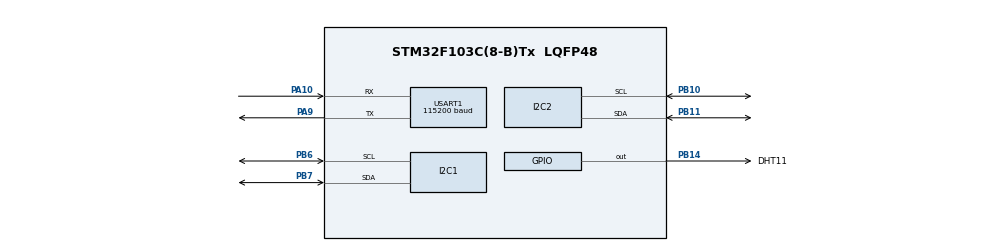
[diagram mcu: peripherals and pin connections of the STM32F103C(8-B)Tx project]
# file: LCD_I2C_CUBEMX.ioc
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FREERTOS.Mutexes01=myMutex01,Dynamic,NULL
FREERTOS.Queues01=myQueue01,16,myQueueData_t,0,Dynamic,NULL,NULL
FREERTOS.Tasks01=nhietDoTask,24,128,nhietDoFunction,Default,NULL,Dynamic,NULL,NULL;thoiGianTask,16,128,thoiGianFunction,Default,NULL,Dynamic,NULL,NULL;hienThiTask,32,128,hienThiFunction,Default,NULL,Dynamic,NULL,NULL
I2C1.I2C_Mode=I2C_Standard
Mcu.Family=STM32F1
Mcu.Name=STM32F103C(8-B)Tx
Mcu.Package=LQFP48
NVIC.PriorityGroup=NVIC_PRIORITYGROUP_4
NVIC.TIM2_IRQn=true\:15\:0\:false\:false\:true\:false\:false\:true
NVIC.TimeBase=TIM2_IRQn
NVIC.TimeBaseIP=TIM2
PA10.Mode=Asynchronous
PA10.Signal=USART1_RX
PA13.Mode=Serial_Wire
PA13.Signal=SYS_JTMS-SWDIO
PA14.Mode=Serial_Wire
PA14.Signal=SYS_JTCK-SWCLK
PA9.Mode=Asynchronous
PA9.Signal=USART1_TX
PB10.Mode=I2C
PB10.Signal=I2C2_SCL
PB11.Mode=I2C
PB11.Signal=I2C2_SDA
PB14.GPIO_Label=DHT11
PB14.PinState=GPIO_PIN_SET
PB14.Signal=GPIO_Output
PB6.Mode=I2C
PB6.Signal=I2C1_SCL
PB7.Mode=I2C
PB7.Signal=I2C1_SDA
PD0-OSC_IN.Mode=HSE-External-Oscillator
PD0-OSC_IN.Signal=RCC_OSC_IN
PD1-OSC_OUT.Mode=HSE-External-Oscillator
PD1-OSC_OUT.Signal=RCC_OSC_OUT
ProjectManager.HeapSize=0x200
ProjectManager.StackSize=0x400
ProjectManager.TargetToolchain=MDK-ARM V5.32
RCC.APB1Freq_Value=8000000
RCC.APB2Freq_Value=8000000
RCC.SYSCLKSource=RCC_SYSCLKSOURCE_HSE
TIM3.Prescaler=7
USART1.BaudRate=115200
USART1.VirtualMode=VM_ASYNC
VP_FREERTOS_VS_CMSIS_V2.Mode=CMSIS_V2
VP_SYS_VS_tim2.Mode=TIM2
VP_TIM3_VS_ClockSourceINT.Mode=Internal
board=custom

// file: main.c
/* USER CODE BEGIN Header */
/**
  ******************************************************************************
  * @file           : main.c
  * @brief          : Main program body
  ******************************************************************************
  * @attention
  *
  * <h2><center>&copy; Copyright (c) 2022 STMicroelectronics.
  * All rights reserved.</center></h2>
  *
  * This software component is licensed by ST under BSD 3-Clause license,
  * the "License"; You may not use this file except in compliance with the
  * License. You may obtain a copy of the License at:
  *                        opensource.org/licenses/BSD-3-Clause
  *
  ******************************************************************************
  */
/* USER CODE END Header */
#include "main.h"
#include "cmsis_os.h"

/* USER CODE BEGIN Includes */
#include "i2c-lcd.h"
#include "DHT.h"
/* USER CODE END Includes */

/* USER CODE BEGIN PTD */

#define DS1307_I2C_ADDR     0x68
#define DS1307_REG_SECOND     0x00
#define DS1307_REG_MINUTE     0x01
#define DS1307_REG_HOUR      0x02
#define DS1307_REG_DOW        0x03
#define DS1307_REG_DATE       0x04
#define DS1307_REG_MONTH      0x05
#define DS1307_REG_YEAR       0x06
#define DS1307_REG_CONTROL     0x07
#define DS1307_REG_UTC_HR    0x08
#define DS1307_REG_UTC_MIN    0x09
#define DS1307_REG_CENT        0x10
#define DS1307_TIMEOUT        1000
typedef struct {
    uint8_t    sec;
    uint8_t min;
    uint8_t hour;
    uint8_t dow;
    uint8_t date;
    uint8_t month;
    uint16_t year;
}DS1307_STRUCT;
DS1307_STRUCT    ds1307;

/* USER CODE END PTD */

I2C_HandleTypeDef hi2c1;
I2C_HandleTypeDef hi2c2;

TIM_HandleTypeDef htim3;

UART_HandleTypeDef huart1;

/* Definitions for nhietDoTask */
osThreadId_t nhietDoTaskHandle;
const osThreadAttr_t nhietDoTask_attributes = {
  .name = "nhietDoTask",
  .stack_size = 128 * 4,
  .priority = (osPriority_t) osPriorityNormal,
};
/* Definitions for thoiGianTask */
osThreadId_t thoiGianTaskHandle;
const osThreadAttr_t thoiGianTask_attributes = {
  .name = "thoiGianTask",
  .stack_size = 128 * 4,
  .priority = (osPriority_t) osPriorityBelowNormal,
};
/* Definitions for hienThiTask */
osThreadId_t hienThiTaskHandle;
const osThreadAttr_t hienThiTask_attributes = {
  .name = "hienThiTask",
  .stack_size = 128 * 4,
  .priority = (osPriority_t) osPriorityAboveNormal,
};
/* Definitions for myQueue01 */
osMessageQueueId_t myQueue01Handle;
const osMessageQueueAttr_t myQueue01_attributes = {
  .name = "myQueue01"
};
/* Definitions for myMutex01 */
osMutexId_t myMutex01Handle;
const osMutexAttr_t myMutex01_attributes = {
  .name = "myMutex01"
};

void SystemClock_Config(void);
static void MX_GPIO_Init(void);
static void MX_I2C1_Init(void);
static void MX_TIM3_Init(void);
static void MX_I2C2_Init(void);
static void MX_USART1_UART_Init(void);
void nhietDoFunction(void *argument);
void thoiGianFunction(void *argument);
void hienThiFunction(void *argument);

/* USER CODE BEGIN PFP */

uint8_t DS1307_DecodeBCD(uint8_t bin);
uint8_t DS1307_EncodeBCD(uint8_t dec);
void DS1307_SetClockHalt(uint8_t halt);
void DS1307_SetRegByte(uint8_t regAddr, uint8_t val);
void DS1307_SetTimeZone(int8_t hr, uint8_t min);
uint8_t DS1307_GetClockHalt(void);
uint8_t DS1307_GetRegByte(uint8_t regAddr);
void DS1307_config();
void DS1307_gettime();
void DS1307_settime(uint8_t sec,uint8_t min,uint8_t hour_24mode,uint8_t dayOfWeek,uint8_t date,uint8_t month, uint16_t year);

typedef struct{
	uint8_t IO_id;
	uint8_t IO_data[8];
	uint16_t IO_data_year;
}myQueueData_t;

/* USER CODE END PFP */

/* USER CODE BEGIN 0 */

void CONVERT_NUMBER_FOUR(uint16_t tick, uint8_t* k)
{
	*(k) = (uint8_t)((tick%10000)/1000) | 0x30;
	*(k+1) = (uint8_t)((tick%1000)/100) | 0x30;
	*(k+2) = (uint8_t)((tick%100)/10) | 0x30;
	*(k+3) = (uint8_t)(tick%10) | 0x30;
}

void CONVERT_NUMBER_TWO(uint8_t tick, uint8_t* k)
{
	*k = (uint8_t)((tick%100)/10) | 0x30;
	*(k+1) = (uint8_t)(tick%10) | 0x30;
}

//bien luu moc thoi gian
uint16_t k1, k2;

//bien cau truc nhiet do do am
DHT_Name DHT1;
uint8_t nhietDo[11] = " Temp: 12\n";
uint8_t doAm[10] = "Humi: 34\n";

// bien thoi gian
//DS1307_STRUCT ds1307;
uint8_t giay[10] = "giay: 56\n";
uint8_t phut[10] = "phut: 56\n";
uint8_t gio[10] = "gio : 56\n";
uint8_t thu[10] = "thu : 56\n";
uint8_t ngay[10] = "ngay: 56\n";
uint8_t thang[10] = "thg : 56\n";
uint8_t nam[12] = "nam : 5678\n";

//task1-temperature humility
void TASK1()
{
	DHT_ReadTempHum(&DHT1);
	// nhietDo = (uint8_t)DHT1.Temp;
	// doAm = (uint8_t)DHT1.Humi;
	//CONVERT_NUMBER_TWO((uint8_t)DHT1.Temp, &nhietDo[7]);
	//CONVERT_NUMBER_TWO((uint8_t)DHT1.Humi, &doAm[6]);

}
// TASK 2 get times
void TASK2()
{
	DS1307_gettime();
	/*
	CONVERT_NUMBER_TWO(ds1307.sec, &giay[6]);
	CONVERT_NUMBER_TWO(ds1307.min, &phut[6]);
	CONVERT_NUMBER_TWO(ds1307.hour, &gio[6]);
	CONVERT_NUMBER_TWO(ds1307.dow, &thu[6]);
	CONVERT_NUMBER_TWO(ds1307.date, &ngay[6]);
	CONVERT_NUMBER_TWO(ds1307.month, &thang[6]);
	CONVERT_NUMBER_FOUR(ds1307.year, &nam[6]);
	*/
}

// task3-display on LCD
void TASK3()
{
	// lcd_init();
	lcd_clear_display();
	lcd_goto_XY(1,0);
	lcd_send_string((char*)nhietDo);
	lcd_goto_XY(2,0);
	lcd_send_string((char*)doAm);
}

//task 4 transmiter uart
void TASK4()
{
	HAL_UART_Transmit(&huart1, giay, sizeof(giay), 100);
	HAL_UART_Transmit(&huart1, phut, sizeof(phut), 100);
	HAL_UART_Transmit(&huart1, gio, sizeof(gio), 100);
	HAL_UART_Transmit(&huart1, thu, sizeof(thu), 100);
	HAL_UART_Transmit(&huart1, ngay, sizeof(ngay), 100);
	HAL_UART_Transmit(&huart1, thang, sizeof(thang), 100);
	HAL_UART_Transmit(&huart1, nam, sizeof(nam), 100);
	HAL_UART_Transmit(&huart1, nhietDo, sizeof(nhietDo), 100);
	HAL_UART_Transmit(&huart1, doAm, sizeof(doAm), 100);
}

// void (*TASK_POINT[3])(void)={TASK1, TASK2, TASK3};
// uint8_t i = 0;
/* USER CODE END 0 */

int main(void)
{

  /* MCU Configuration--------------------------------------------------------*/

  /* Reset of all peripherals, Initializes the Flash interface and the Systick. */
  HAL_Init();

  /* Configure the system clock */
  SystemClock_Config();

  /* Initialize all configured peripherals */
  MX_GPIO_Init();
  MX_I2C1_Init();
  MX_TIM3_Init();
  MX_I2C2_Init();
  MX_USART1_UART_Init();
  /* USER CODE BEGIN 2 */
	lcd_init();
	DHT_Init(&DHT1, DHT11, &htim3, DHT11_GPIO_Port, DHT11_Pin);
	DS1307_config();
  DS1307_settime(30, 59, 6, 5, 24, 2, 2022);
	//TASK2();
	//TASK1();
	//1 = uwTick;
	 //TASK1();
	 //k1 = uwTick;
	 //TASK3();
	//TASK2();
	//TASK4();

	//k2 = uwTick;

  /* USER CODE END 2 */

  /* Init scheduler */
  osKernelInitialize();
  /* Create the mutex(es) */
  /* creation of myMutex01 */
  myMutex01Handle = osMutexNew(&myMutex01_attributes);

  /* Create the queue(s) */
  /* creation of myQueue01 */
  myQueue01Handle = osMessageQueueNew (16, sizeof(myQueueData_t), &myQueue01_attributes);

  /* Create the thread(s) */
  /* creation of nhietDoTask */
  nhietDoTaskHandle = osThreadNew(nhietDoFunction, NULL, &nhietDoTask_attributes);

  /* creation of thoiGianTask */
  thoiGianTaskHandle = osThreadNew(thoiGianFunction, NULL, &thoiGianTask_attributes);

  /* creation of hienThiTask */
  hienThiTaskHandle = osThreadNew(hienThiFunction, NULL, &hienThiTask_attributes);

  /* Start scheduler */
  osKernelStart();

  /* We should never get here as control is now taken by the scheduler */
  /* Infinite loop */
  while (1)
  {

    /* USER CODE BEGIN 3 */

		HAL_Delay(1000);

		/*
		if(uwTick%10000==100)
		{
			for(i=0; i<3; i++)
			{
				TASK_POINT[i]();
			}
		}
		*/
  }
  /* USER CODE END 3 */
}

void SystemClock_Config(void)
{
  RCC_OscInitTypeDef RCC_OscInitStruct = {0};
  RCC_ClkInitTypeDef RCC_ClkInitStruct = {0};

  /** Initializes the RCC Oscillators according to the specified parameters
  * in the RCC_OscInitTypeDef structure.
  */
  RCC_OscInitStruct.OscillatorType = RCC_OSCILLATORTYPE_HSE;
  RCC_OscInitStruct.HSEState = RCC_HSE_ON;
  RCC_OscInitStruct.PLL.PLLState = RCC_PLL_NONE;
  if (HAL_RCC_OscConfig(&RCC_OscInitStruct) != HAL_OK)
  {
    Error_Handler();
  }
  /** Initializes the CPU, AHB and APB buses clocks
  */
  RCC_ClkInitStruct.ClockType = RCC_CLOCKTYPE_HCLK|RCC_CLOCKTYPE_SYSCLK
                              |RCC_CLOCKTYPE_PCLK1|RCC_CLOCKTYPE_PCLK2;
  RCC_ClkInitStruct.SYSCLKSource = RCC_SYSCLKSOURCE_HSE;
  RCC_ClkInitStruct.AHBCLKDivider = RCC_SYSCLK_DIV1;
  RCC_ClkInitStruct.APB1CLKDivider = RCC_HCLK_DIV1;
  RCC_ClkInitStruct.APB2CLKDivider = RCC_HCLK_DIV1;

  if (HAL_RCC_ClockConfig(&RCC_ClkInitStruct, FLASH_LATENCY_0) != HAL_OK)
  {
    Error_Handler();
  }
}

static void MX_I2C1_Init(void)
{

  hi2c1.Instance = I2C1;
  hi2c1.Init.ClockSpeed = 100000;
  hi2c1.Init.DutyCycle = I2C_DUTYCYCLE_2;
  hi2c1.Init.OwnAddress1 = 0;
  hi2c1.Init.AddressingMode = I2C_ADDRESSINGMODE_7BIT;
  hi2c1.Init.DualAddressMode = I2C_DUALADDRESS_DISABLE;
  hi2c1.Init.OwnAddress2 = 0;
  hi2c1.Init.GeneralCallMode = I2C_GENERALCALL_DISABLE;
  hi2c1.Init.NoStretchMode = I2C_NOSTRETCH_DISABLE;
  if (HAL_I2C_Init(&hi2c1) != HAL_OK)
  {
    Error_Handler();
  }

}

static void MX_I2C2_Init(void)
{

  hi2c2.Instance = I2C2;
  hi2c2.Init.ClockSpeed = 100000;
  hi2c2.Init.DutyCycle = I2C_DUTYCYCLE_2;
  hi2c2.Init.OwnAddress1 = 0;
  hi2c2.Init.AddressingMode = I2C_ADDRESSINGMODE_7BIT;
  hi2c2.Init.DualAddressMode = I2C_DUALADDRESS_DISABLE;
  hi2c2.Init.OwnAddress2 = 0;
  hi2c2.Init.GeneralCallMode = I2C_GENERALCALL_DISABLE;
  hi2c2.Init.NoStretchMode = I2C_NOSTRETCH_DISABLE;
  if (HAL_I2C_Init(&hi2c2) != HAL_OK)
  {
    Error_Handler();
  }

}

static void MX_TIM3_Init(void)
{

  TIM_ClockConfigTypeDef sClockSourceConfig = {0};
  TIM_MasterConfigTypeDef sMasterConfig = {0};

  htim3.Instance = TIM3;
  htim3.Init.Prescaler = 7;
  htim3.Init.CounterMode = TIM_COUNTERMODE_UP;
  htim3.Init.Period = 65535;
  htim3.Init.ClockDivision = TIM_CLOCKDIVISION_DIV1;
  htim3.Init.AutoReloadPreload = TIM_AUTORELOAD_PRELOAD_DISABLE;
  if (HAL_TIM_Base_Init(&htim3) != HAL_OK)
  {
    Error_Handler();
  }
  sClockSourceConfig.ClockSource = TIM_CLOCKSOURCE_INTERNAL;
  if (HAL_TIM_ConfigClockSource(&htim3, &sClockSourceConfig) != HAL_OK)
  {
    Error_Handler();
  }
  sMasterConfig.MasterOutputTrigger = TIM_TRGO_RESET;
  sMasterConfig.MasterSlaveMode = TIM_MASTERSLAVEMODE_DISABLE;
  if (HAL_TIMEx_MasterConfigSynchronization(&htim3, &sMasterConfig) != HAL_OK)
  {
    Error_Handler();
  }

}

static void MX_USART1_UART_Init(void)
{

  huart1.Instance = USART1;
  huart1.Init.BaudRate = 115200;
  huart1.Init.WordLength = UART_WORDLENGTH_8B;
  huart1.Init.StopBits = UART_STOPBITS_1;
  huart1.Init.Parity = UART_PARITY_NONE;
  huart1.Init.Mode = UART_MODE_TX_RX;
  huart1.Init.HwFlowCtl = UART_HWCONTROL_NONE;
  huart1.Init.OverSampling = UART_OVERSAMPLING_16;
  if (HAL_UART_Init(&huart1) != HAL_OK)
  {
    Error_Handler();
  }

}

static void MX_GPIO_Init(void)
{
  GPIO_InitTypeDef GPIO_InitStruct = {0};

  /* GPIO Ports Clock Enable */
  __HAL_RCC_GPIOD_CLK_ENABLE();
  __HAL_RCC_GPIOB_CLK_ENABLE();
  __HAL_RCC_GPIOA_CLK_ENABLE();

  /*Configure GPIO pin Output Level */
  HAL_GPIO_WritePin(DHT11_GPIO_Port, DHT11_Pin, GPIO_PIN_SET);

  /*Configure GPIO pin : DHT11_Pin */
  GPIO_InitStruct.Pin = DHT11_Pin;
  GPIO_InitStruct.Mode = GPIO_MODE_OUTPUT_PP;
  GPIO_InitStruct.Pull = GPIO_NOPULL;
  GPIO_InitStruct.Speed = GPIO_SPEED_FREQ_LOW;
  HAL_GPIO_Init(DHT11_GPIO_Port, &GPIO_InitStruct);

}

/* USER CODE BEGIN 4 */

void DS1307_gettime(){
    uint16_t cen;
    ds1307.sec=DS1307_DecodeBCD(DS1307_GetRegByte(DS1307_REG_SECOND) & 0x7f);
    ds1307.min=DS1307_DecodeBCD(DS1307_GetRegByte(DS1307_REG_MINUTE));
    ds1307.hour=DS1307_DecodeBCD(DS1307_GetRegByte(DS1307_REG_HOUR) & 0x3f);
    ds1307.dow=DS1307_DecodeBCD(DS1307_GetRegByte(DS1307_REG_DOW));
    ds1307.date=DS1307_DecodeBCD(DS1307_GetRegByte(DS1307_REG_DATE));
    ds1307.month=DS1307_DecodeBCD(DS1307_GetRegByte(DS1307_REG_MONTH));
    cen = DS1307_GetRegByte(DS1307_REG_CENT) * 100;
    ds1307.year=DS1307_DecodeBCD(DS1307_GetRegByte(DS1307_REG_YEAR)) + cen;
}
void DS1307_SetRegByte(uint8_t regAddr, uint8_t val) {
    uint8_t bytes[2] = { regAddr, val };
    HAL_I2C_Master_Transmit(&hi2c1, DS1307_I2C_ADDR << 1, bytes, 2, DS1307_TIMEOUT);
}
uint8_t DS1307_GetClockHalt(void) {
    return (DS1307_GetRegByte(DS1307_REG_SECOND) & 0x80) >> 7;
}
void DS1307_settime(uint8_t sec,uint8_t min,uint8_t hour_24mode,uint8_t dayOfWeek,uint8_t date,uint8_t month, uint16_t year){
    DS1307_SetRegByte(DS1307_REG_SECOND, DS1307_EncodeBCD(sec | DS1307_GetClockHalt()));
    DS1307_SetRegByte(DS1307_REG_MINUTE, DS1307_EncodeBCD(min));
    DS1307_SetRegByte(DS1307_REG_HOUR, DS1307_EncodeBCD(hour_24mode & 0x3f));//hour_24mode Hour in 24h format, 0 to 23.
    DS1307_SetRegByte(DS1307_REG_DOW, DS1307_EncodeBCD(dayOfWeek));//dayOfWeek Days since last Sunday, 0 to 6.
    DS1307_SetRegByte(DS1307_REG_DATE, DS1307_EncodeBCD(date));//date Day of month, 1 to 31.
    DS1307_SetRegByte(DS1307_REG_MONTH, DS1307_EncodeBCD(month));//month Month, 1 to 12.
    DS1307_SetRegByte(DS1307_REG_CENT, year / 100);
    DS1307_SetRegByte(DS1307_REG_YEAR, DS1307_EncodeBCD(year % 100));//2000 to 2099.
}
uint8_t DS1307_GetRegByte(uint8_t regAddr) {
    uint8_t val;
    HAL_I2C_Master_Transmit(&hi2c2, DS1307_I2C_ADDR << 1, &regAddr, 1, DS1307_TIMEOUT);
    HAL_I2C_Master_Receive(&hi2c2, DS1307_I2C_ADDR << 1, &val, 1, DS1307_TIMEOUT);
    return val;
}
void DS1307_SetClockHalt(uint8_t halt) {
    uint8_t ch = (halt ? 1 << 7 : 0);
    DS1307_SetRegByte(DS1307_REG_SECOND, ch | (DS1307_GetRegByte(DS1307_REG_SECOND) & 0x7f));
}
/**
 * @brief Sets UTC offset.
 * @note  UTC offset is not updated automatically.
 * @param hr UTC hour offset, -12 to 12.
 * @param min UTC minute offset, 0 to 59.
 */
void DS1307_SetTimeZone(int8_t hr, uint8_t min) {
    DS1307_SetRegByte(DS1307_REG_UTC_HR, hr);
    DS1307_SetRegByte(DS1307_REG_UTC_MIN, min);
}
void DS1307_config(){
    DS1307_SetClockHalt(0);
    DS1307_SetTimeZone(+8, 00);
}
uint8_t DS1307_DecodeBCD(uint8_t bin) {
    return (((bin & 0xf0) >> 4) * 10) + (bin & 0x0f);
}
uint8_t DS1307_EncodeBCD(uint8_t dec) {
    return (dec % 10 + ((dec / 10) << 4));
}

/* USER CODE END 4 */

void nhietDoFunction(void *argument)
{
  /* USER CODE BEGIN 5 */
	myQueueData_t msg;
	msg.IO_id = 1;

  /* Infinite loop */
  for(;;)
  {
		//taskENTER_CRITICAL();
		DHT_ReadTempHum(&DHT1);
		//taskEXIT_CRITICAL();
		msg.IO_data[0] = DHT1.Temp;
		msg.IO_data[1] = DHT1.Humi;
		osMessageQueuePut(myQueue01Handle, &msg, 0, 0);
    osDelay(500);
  }
  /* USER CODE END 5 */
}

void thoiGianFunction(void *argument)
{
  /* USER CODE BEGIN thoiGianFunction */
	myQueueData_t msg;
	msg.IO_id = 2;

  /* Infinite loop */
  for(;;)
  {
		osMutexAcquire(myMutex01Handle, osWaitForever);
		DS1307_gettime();
		osMutexRelease(myMutex01Handle);

		msg.IO_data[2] = ds1307.sec;
		msg.IO_data[3] = ds1307.min;
		msg.IO_data[4] = ds1307.hour;
		msg.IO_data[5] = ds1307.dow;
		msg.IO_data[6] = ds1307.date;
		msg.IO_data[7] = ds1307.month;
		msg.IO_data_year = ds1307.year;

		osMessageQueuePut(myQueue01Handle, &msg, 0, 0);

    osDelay(1000);
  }
  /* USER CODE END thoiGianFunction */
}

void hienThiFunction(void *argument)
{
  /* USER CODE BEGIN hienThiFunction */
	myQueueData_t msg;
  /* Infinite loop */
  for(;;)
  {
		osMessageQueueGet(myQueue01Handle, &msg, 0, osWaitForever);
		if(msg.IO_id==1)
		{

			CONVERT_NUMBER_TWO(msg.IO_data[0], &nhietDo[7]);
			CONVERT_NUMBER_TWO(msg.IO_data[1], &doAm[6]);
			osMutexAcquire(myMutex01Handle, osWaitForever);
			lcd_clear_display();
			lcd_goto_XY(1,0);
			lcd_send_string((char*)nhietDo);
			lcd_goto_XY(2,0);
			lcd_send_string((char*)doAm);
			osMutexRelease(myMutex01Handle);

		}
		else
		{
			CONVERT_NUMBER_TWO(msg.IO_data[2], &giay[6]);
			CONVERT_NUMBER_TWO(msg.IO_data[3], &phut[6]);
			CONVERT_NUMBER_TWO(msg.IO_data[4], &gio[6]);
			CONVERT_NUMBER_TWO(msg.IO_data[5], &thu[6]);
			CONVERT_NUMBER_TWO(msg.IO_data[6], &ngay[6]);
			CONVERT_NUMBER_TWO(msg.IO_data[7], &thang[6]);
			CONVERT_NUMBER_FOUR(msg.IO_data_year, &nam[6]);

			HAL_UART_Transmit(&huart1, giay, sizeof(giay), 100);
			HAL_UART_Transmit(&huart1, phut, sizeof(phut), 100);
			HAL_UART_Transmit(&huart1, gio, sizeof(gio), 100);
			HAL_UART_Transmit(&huart1, thu, sizeof(thu), 100);
			HAL_UART_Transmit(&huart1, ngay, sizeof(ngay), 100);
			HAL_UART_Transmit(&huart1, thang, sizeof(thang), 100);
			HAL_UART_Transmit(&huart1, nam, sizeof(nam), 100);
			HAL_UART_Transmit(&huart1, nhietDo, sizeof(nhietDo), 100);
			HAL_UART_Transmit(&huart1, doAm, sizeof(doAm), 100);
		}
    //osDelay(1);
  }
  /* USER CODE END hienThiFunction */
}

void HAL_TIM_PeriodElapsedCallback(TIM_HandleTypeDef *htim)
{
  if (htim->Instance == TIM2) {
    HAL_IncTick();
  }
}

void Error_Handler(void)
{
  __disable_irq();
  while (1)
  {
  }
}

/************************ (C) COPYRIGHT STMicroelectronics *****END OF FILE****/
